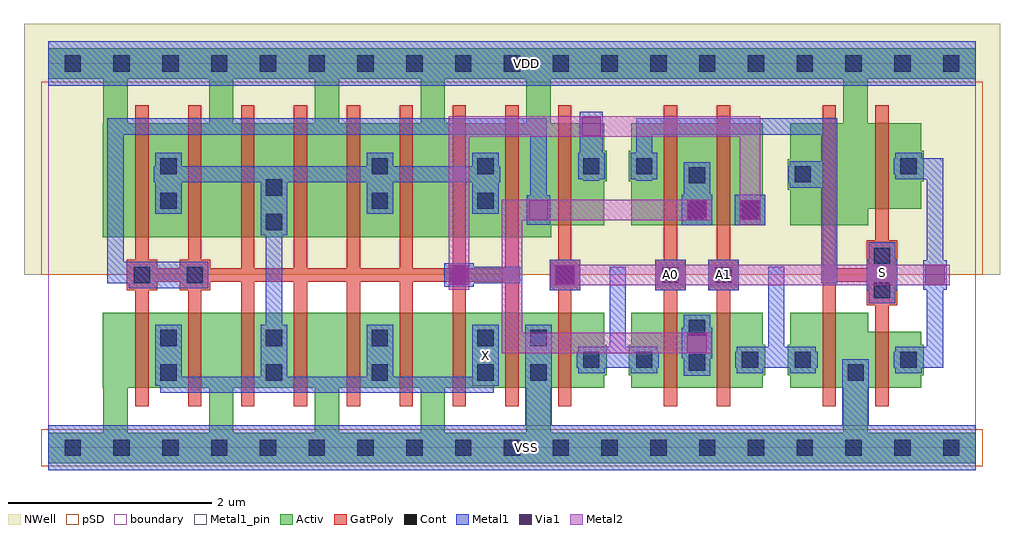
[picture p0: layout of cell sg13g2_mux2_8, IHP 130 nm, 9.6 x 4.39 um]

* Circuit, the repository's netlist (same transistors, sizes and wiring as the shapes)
.SUBCKT sg13g2_mux2_8 X A0 A1 S VDD VSS
*.PININFO A0:I A1:I S:I X:O VDD:B VSS:B
MP1 net4 S VDD VDD sg13_lv_pmos w=1.000u l=130.00n ng=1
MP5 X net6 VDD VDD sg13_lv_pmos w=8.96u l=130.00n ng=8
MP4 net6 A1 net5 VDD sg13_lv_pmos w=1.000u l=130.00n ng=1
MP0 Sb S VDD VDD sg13_lv_pmos w=840.00n l=130.00n ng=1
MP3 net5 Sb VDD VDD sg13_lv_pmos w=1.000u l=130.00n ng=1
MP2 net6 A0 net4 VDD sg13_lv_pmos w=1.000u l=130.00n ng=1
MN4 net3 S VSS VSS sg13_lv_nmos w=740.00n l=130.00n ng=1
MN2 net1 Sb VSS VSS sg13_lv_nmos w=740.00n l=130.00n ng=1
MN5 X net6 VSS VSS sg13_lv_nmos w=5.92u l=130.00n ng=8
MN0 Sb S VSS VSS sg13_lv_nmos w=550.00n l=130.00n ng=1
MN3 net6 A1 net3 VSS sg13_lv_nmos w=740.00n l=130.00n ng=1
MN1 net6 A0 net1 VSS sg13_lv_nmos w=740.00n l=130.00n ng=1
.ENDS

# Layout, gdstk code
import gdstk
lib = gdstk.Library(unit=1e-6, precision=1e-09)
def R(c, l, rs):  # rectangles x0, y0, x1, y1
    for r in rs: c.add(gdstk.rectangle(r[:2], r[2:], *l))
def A(c, l, x, y, w, h, nx, ny, dx, dy):  # array of equal rectangles
    R(c, l, [(x+i*dx, y+j*dy, x+i*dx+w, y+j*dy+h) for i in range(nx) for j in range(ny)])
def P(c, l, *ps):  # polygons
    for p in ps: c.add(gdstk.Polygon(p, *l))
Activ = (1, 0)
GatPoly = (5, 0)
Cont = (6, 0)
Metal1 = (8, 0)
Metal1_pin = (8, 2)
Metal2 = (10, 0)
pSD = (14, 0)
Via1 = (19, 0)
NWell = (31, 0)
boundary = (189, 4)

sg13g2_mux2_8 = lib.new_cell('sg13g2_mux2_8')
P(sg13g2_mux2_8, Activ, [(3.9,0.59),(3.9,1.33),(2.86,1.33),(2.86,0.59),(2.86,1.33),(1.82,1.33),(1.82,0.59),(1.82,1.33),(0.78,1.33),(0.78,0.59),(0.78,1.33),(0.535,1.33),(0.535,0.59),(0.54,0.59),(0.54,0.15),(0,0.15),(0,-0.15),(0.78,-0.15),(0.78,0.59),(1.58,0.59),(1.58,0.15),(0.78,0.15),(0.78,-0.15),(1.82,-0.15),(1.82,0.59),(2.62,0.59),(2.62,0.15),(1.82,0.15),(1.82,-0.15),(2.86,-0.15),(2.86,0.59),(3.66,0.59),(3.66,0.15),(2.86,0.15),(2.86,-0.15),(3.9,-0.15),(3.9,0.59),(4.7,0.59),(4.7,0.15),(3.9,0.15),(3.9,-0.15),(9.12,-0.15),(9.12,0.15),(8.06,0.15),(8.06,0.59),(8.585,0.59),(8.585,0.715),(8.61,0.715),(8.61,1.015),(8.585,1.015),(8.585,1.14),(8.065,1.14),(8.065,1.33),(7.295,1.33),(7.295,1.015),(7.27,1.015),(7.27,0.715),(7.295,0.715),(7.295,0.59),(7.82,0.59),(7.82,0.15),(4.94,0.15),(4.94,0.59),(5.465,0.59),(5.465,0.715),(5.49,0.715),(5.49,1.015),(5.465,1.015),(5.465,1.33),(3.9,1.33)],
  [(3.9,3.63),(3.9,3.93),(2.86,3.93),(2.86,3.63),(2.86,3.93),(1.82,3.93),(1.82,3.63),(1.82,3.93),(0.78,3.93),(0.78,3.63),(0.78,3.93),(0,3.93),(0,3.63),(0.54,3.63),(0.54,3.19),(0.535,3.19),(0.535,2.07),(0.78,2.07),(0.78,3.63),(1.58,3.63),(1.58,3.19),(0.78,3.19),(0.78,2.07),(1.82,2.07),(1.82,3.63),(2.62,3.63),(2.62,3.19),(1.82,3.19),(1.82,2.07),(2.86,2.07),(2.86,3.63),(3.66,3.63),(3.66,3.19),(2.86,3.19),(2.86,2.07),(3.9,2.07),(3.9,3.63),(4.7,3.63),(4.7,3.19),(3.9,3.19),(3.9,2.07),(4.945,2.07),(4.945,2.19),(5.465,2.19),(5.465,2.62),(5.49,2.62),(5.49,2.92),(5.465,2.92),(5.465,3.19),(4.94,3.19),(4.94,3.63),(7.82,3.63),(7.82,3.19),(7.295,3.19),(7.295,2.84),(7.27,2.84),(7.27,2.54),(7.295,2.54),(7.295,2.19),(8.065,2.19),(8.065,2.35),(8.585,2.35),(8.585,2.62),(8.61,2.62),(8.61,2.92),(8.585,2.92),(8.585,3.19),(8.06,3.19),(8.06,3.63),(9.12,3.63),(9.12,3.93),(3.9,3.93)],
  [(5.71,0.715),(5.735,0.715),(5.735,0.59),(7.025,0.59),(7.025,0.715),(7.05,0.715),(7.05,1.015),(7.025,1.015),(7.025,1.33),(5.735,1.33),(5.735,1.015),(5.71,1.015)],
  [(5.71,2.62),(5.735,2.62),(5.735,2.19),(7.05,2.19),(7.05,2.49),(7.025,2.49),(7.025,3.19),(5.735,3.19),(5.735,2.92),(5.71,2.92)])
P(sg13g2_mux2_8, GatPoly, [(0.77,1.55),(0.855,1.55),(0.855,0.41),(0.985,0.41),(0.985,1.55),(1.07,1.55),(1.07,1.635),(1.29,1.635),(1.29,1.55),(1.375,1.55),(1.375,0.41),(1.505,0.41),(1.505,1.55),(1.59,1.55),(1.59,1.635),(1.895,1.635),(1.895,0.41),(2.025,0.41),(2.025,1.635),(2.415,1.635),(2.415,0.41),(2.545,0.41),(2.545,1.635),(2.935,1.635),(2.935,0.41),(3.065,0.41),(3.065,1.635),(3.455,1.635),(3.455,0.41),(3.585,0.41),(3.585,1.635),(3.975,1.635),(3.975,0.41),(4.105,0.41),(4.105,1.635),(4.495,1.635),(4.495,0.41),(4.625,0.41),(4.625,3.37),(4.495,3.37),(4.495,1.765),(4.105,1.765),(4.105,3.37),(3.975,3.37),(3.975,1.765),(3.585,1.765),(3.585,3.37),(3.455,3.37),(3.455,1.765),(3.065,1.765),(3.065,3.37),(2.935,3.37),(2.935,1.765),(2.545,1.765),(2.545,3.37),(2.415,3.37),(2.415,1.765),(2.025,1.765),(2.025,3.37),(1.895,3.37),(1.895,1.765),(1.59,1.765),(1.59,1.85),(1.505,1.85),(1.505,3.37),(1.375,3.37),(1.375,1.85),(1.29,1.85),(1.29,1.765),(1.07,1.765),(1.07,1.85),(0.985,1.85),(0.985,3.37),(0.855,3.37),(0.855,1.85),(0.77,1.85)],
  [(4.93,1.55),(5.015,1.55),(5.015,0.41),(5.145,0.41),(5.145,1.55),(5.23,1.55),(5.23,1.85),(5.145,1.85),(5.145,3.37),(5.015,3.37),(5.015,1.85),(4.93,1.85)],
  [(5.97,1.55),(6.055,1.55),(6.055,0.41),(6.185,0.41),(6.185,1.55),(6.27,1.55),(6.27,1.85),(6.185,1.85),(6.185,3.37),(6.055,3.37),(6.055,1.85),(5.97,1.85)],
  [(6.49,1.55),(6.575,1.55),(6.575,0.41),(6.705,0.41),(6.705,1.55),(6.79,1.55),(6.79,1.85),(6.705,1.85),(6.705,3.37),(6.575,3.37),(6.575,1.85),(6.49,1.85)],
  [(7.615,0.41),(7.745,0.41),(7.745,1.635),(8.05,1.635),(8.05,1.4),(8.135,1.4),(8.135,0.41),(8.265,0.41),(8.265,1.4),(8.35,1.4),(8.35,2.04),(8.265,2.04),(8.265,3.37),(8.135,3.37),(8.135,2.04),(8.05,2.04),(8.05,1.765),(7.745,1.765),(7.745,3.37),(7.615,3.37)])
A(sg13g2_mux2_8, Cont, 0.16, -0.08, 0.16, 0.16, 19, 2, 0.48, 3.78)
A(sg13g2_mux2_8, Cont, 1.1, 0.66, 0.16, 0.16, 4, 2, 1.04, 0.34)
A(sg13g2_mux2_8, Cont, 3.18, 2.69, 0.16, 0.16, 3, 1, 1.04, 0)
R(sg13g2_mux2_8, Cont, [(4.74,0.66,4.9,0.82), (7.86,0.66,8.02,0.82), (6.3,0.76,6.46,0.92), (5.26,0.785,5.42,0.945), (5.78,0.785,5.94,0.945), (6.82,0.785,6.98,0.945), (7.34,0.785,7.5,0.945), (8.38,0.785,8.54,0.945), (4.74,1,4.9,1.16), (6.3,1.1,6.46,1.26), (8.12,1.47,8.28,1.63), (0.84,1.62,1,1.78), (1.36,1.62,1.52,1.78), (5,1.62,5.16,1.78), (6.04,1.62,6.2,1.78), (6.56,1.62,6.72,1.78), (8.12,1.81,8.28,1.97), (2.14,2.14,2.3,2.3), (6.3,2.26,6.46,2.42), (6.82,2.26,6.98,2.42), (1.1,2.35,1.26,2.51), (3.18,2.35,3.34,2.51), (4.22,2.35,4.38,2.51), (2.14,2.48,2.3,2.64), (6.3,2.6,6.46,2.76), (7.34,2.61,7.5,2.77), (1.1,2.69,1.26,2.85), (5.78,2.69,5.94,2.85), (8.38,2.69,8.54,2.85)])
R(sg13g2_mux2_8, Metal1, [(4.93,1.55,5.23,1.85), (5.97,1.55,6.27,1.85), (6.49,1.55,6.79,1.85), (6.75,2.19,7.05,2.49), (0,3.56,9.12,4)])
P(sg13g2_mux2_8, Metal1, [(0,-0.22),(9.12,-0.22),(9.12,0.22),(8.07,0.22),(8.07,0.87),(7.81,0.87),(7.81,0.22),(4.95,0.22),(4.95,1.21),(4.69,1.21),(4.69,0.22),(0,0.22)],
  [(0.58,1.62),(0.79,1.62),(0.79,1.57),(1.57,1.57),(1.57,1.83),(0.74,1.83),(0.74,3.08),(4.74,3.08),(4.74,2.485),(4.705,2.485),(4.705,2.195),(4.935,2.195),(4.935,2.485),(4.9,2.485),(4.9,3.24),(0.58,3.24)],
  [(1.035,2.61),(1.05,2.61),(1.05,2.3),(1.31,2.3),(1.31,2.61),(2.09,2.61),(2.09,2.09),(2.14,2.09),(2.14,1.21),(2.09,1.21),(2.09,0.7),(1.31,0.7),(1.31,1.21),(1.05,1.21),(1.05,0.61),(1.1,0.61),(1.1,0.54),(4.38,0.54),(4.38,0.61),(4.43,0.61),(4.43,1.21),(4.17,1.21),(4.17,0.7),(3.39,0.7),(3.39,1.21),(3.13,1.21),(3.13,0.7),(2.35,0.7),(2.35,1.21),(2.3,1.21),(2.3,2.09),(2.35,2.09),(2.35,2.61),(3.13,2.61),(3.13,2.3),(3.39,2.3),(3.39,2.61),(4.17,2.61),(4.17,2.3),(4.43,2.3),(4.43,2.61),(4.445,2.61),(4.445,2.77),(4.43,2.77),(4.43,2.9),(4.17,2.9),(4.17,2.77),(3.39,2.77),(3.39,2.9),(3.13,2.9),(3.13,2.77),(1.31,2.77),(1.31,2.9),(1.05,2.9),(1.05,2.77),(1.035,2.77)],
  [(3.895,1.585),(4.185,1.585),(4.185,1.62),(4.64,1.62),(4.64,1.78),(4.185,1.78),(4.185,1.815),(3.895,1.815)],
  [(5.195,0.785),(5.21,0.785),(5.21,0.735),(5.47,0.735),(5.47,0.785),(5.73,0.785),(5.73,0.735),(5.99,0.735),(5.99,0.785),(6.005,0.785),(6.005,0.945),(5.99,0.945),(5.99,0.995),(5.68,0.995),(5.68,1.78),(5.52,1.78),(5.52,0.995),(5.21,0.995),(5.21,0.945),(5.195,0.945)],
  [(5.21,2.64),(5.26,2.64),(5.26,2.625),(5.42,2.625),(5.42,2.64),(5.47,2.64),(5.47,2.9),(5.455,2.9),(5.455,3.305),(5.225,3.305),(5.225,2.9),(5.21,2.9)],
  [(5.73,2.64),(5.78,2.64),(5.78,2.625),(5.94,2.625),(5.94,2.64),(5.99,2.64),(5.99,2.9),(5.94,2.9),(5.94,3.08),(7.6,3.08),(7.6,2.82),(7.29,2.82),(7.29,2.77),(7.275,2.77),(7.275,2.61),(7.29,2.61),(7.29,2.56),(7.6,2.56),(7.6,1.62),(7.76,1.62),(7.76,3.24),(5.78,3.24),(5.78,2.9),(5.73,2.9)],
  [(6.23,0.88),(6.25,0.88),(6.25,0.71),(6.51,0.71),(6.51,0.88),(6.53,0.88),(6.53,1.18),(6.51,1.18),(6.51,1.31),(6.25,1.31),(6.25,1.18),(6.23,1.18)],
  [(6.23,2.19),(6.53,2.19),(6.53,2.49),(6.51,2.49),(6.51,2.81),(6.25,2.81),(6.25,2.49),(6.23,2.49)],
  [(6.755,0.785),(6.77,0.785),(6.77,0.735),(7.03,0.735),(7.03,0.785),(7.29,0.785),(7.29,0.735),(7.55,0.735),(7.55,0.785),(7.565,0.785),(7.565,0.945),(7.55,0.945),(7.55,0.995),(7.24,0.995),(7.24,1.78),(7.08,1.78),(7.08,0.995),(6.77,0.995),(6.77,0.945),(6.755,0.945)],
  [(8.05,1.55),(8.07,1.55),(8.07,1.42),(8.33,1.42),(8.33,1.55),(8.35,1.55),(8.35,1.85),(8.33,1.85),(8.33,2.02),(8.07,2.02),(8.07,1.85),(8.05,1.85)],
  [(8.315,0.785),(8.33,0.785),(8.33,0.735),(8.59,0.735),(8.59,0.785),(8.8,0.785),(8.8,1.555),(8.835,1.555),(8.835,1.845),(8.8,1.845),(8.8,2.85),(8.59,2.85),(8.59,2.9),(8.33,2.9),(8.33,2.85),(8.315,2.85),(8.315,2.69),(8.33,2.69),(8.33,2.64),(8.64,2.64),(8.64,1.845),(8.605,1.845),(8.605,1.555),(8.64,1.555),(8.64,0.995),(8.33,0.995),(8.33,0.945),(8.315,0.945)])
R(sg13g2_mux2_8, Metal1_pin, [(0,-0.22,9.12,0.22), (4.17,0.61,4.43,1.21), (8.07,1.42,8.33,2.02), (5.97,1.55,6.27,1.85), (6.49,1.55,6.79,1.85), (0,3.56,9.12,4)])
R(sg13g2_mux2_8, Metal2, [(4.935,1.6,8.865,1.8)])
P(sg13g2_mux2_8, Metal2, [(3.94,1.555),(4.14,1.555),(4.14,3.06),(6.8,3.06),(6.8,2.195),(7,2.195),(7,3.26),(3.94,3.26)],
  [(4.46,0.93),(6.525,0.93),(6.525,1.13),(4.66,1.13),(4.66,2.24),(6.525,2.24),(6.525,2.44),(4.46,2.44)])
R(sg13g2_mux2_8, pSD, [(-0.07,-0.18,9.19,0.18), (-0.07,1.7,9.19,3.6)])
R(sg13g2_mux2_8, Via1, [(6.285,0.935,6.475,1.125), (3.945,1.605,4.135,1.795), (4.985,1.605,5.175,1.795), (8.625,1.605,8.815,1.795), (4.725,2.245,4.915,2.435), (6.285,2.245,6.475,2.435), (6.805,2.245,6.995,2.435), (5.245,3.065,5.435,3.255)])
R(sg13g2_mux2_8, NWell, [(-0.24,1.7,9.36,4.17)])
R(sg13g2_mux2_8, boundary, [(0,0,9.12,3.78)])
sg13g2_mux2_8.add(gdstk.Label('X', (4.3,0.91), layer=8, texttype=25))
sg13g2_mux2_8.add(gdstk.Label('A0', (6.12,1.7), layer=8, texttype=25))
sg13g2_mux2_8.add(gdstk.Label('A1', (6.64,1.7), layer=8, texttype=25))
sg13g2_mux2_8.add(gdstk.Label('S', (8.2,1.72), layer=8, texttype=25))
sg13g2_mux2_8.add(gdstk.Label('VSS', (4.7,0), layer=8, texttype=25))
sg13g2_mux2_8.add(gdstk.Label('VDD', (4.7,3.78), layer=8, texttype=25))

lib.write_gds('sg13g2_mux2_8.gds')
